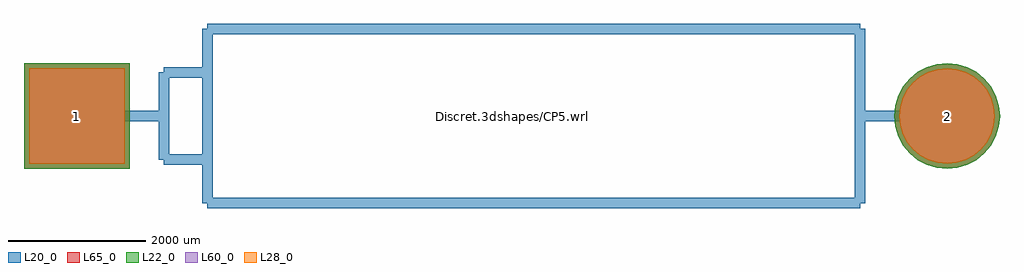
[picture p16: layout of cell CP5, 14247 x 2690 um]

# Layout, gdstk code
import gdstk
lib = gdstk.Library(unit=1e-6, precision=1e-09)
def R(c, l, rs):  # rectangles x0, y0, x1, y1
    for r in rs: c.add(gdstk.rectangle(r[:2], r[2:], *l))
def P(c, l, *ps):  # polygons
    for p in ps: c.add(gdstk.Polygon(p, *l))
L20_0 = (20, 0)
L22_0 = (22, 0)
L28_0 = (28, 0)
L60_0 = (60, 0)
L65_0 = (65, 0)

cp5 = lib.new_cell('CP5')
R(cp5, L22_0, [(-7123.5,-773.5,-5576.5,773.5)])
P(cp5, L22_0, [(7123.5,0),(7108.637,150.902),(7064.621,296.006),(6993.142,429.734),(6896.947,546.947),(6779.734,643.142),(6646.006,714.621),(6500.902,758.637),(6350,773.5),(6199.098,758.637),(6053.994,714.621),(5920.266,643.142),(5803.053,546.947),(5706.858,429.734),(5635.379,296.006),(5591.363,150.902),(5576.5,0),(5591.363,-150.902),(5635.379,-296.006),(5706.858,-429.734),(5803.053,-546.947),(5920.266,-643.142),(6053.994,-714.621),(6199.098,-758.637),(6350,-773.5),(6500.902,-758.637),(6646.006,-714.621),(6779.734,-643.142),(6896.947,-546.947),(6993.142,-429.734),(7064.621,-296.006),(7108.637,-150.902)])
R(cp5, L28_0, [(-7048.5,-698.5,-5651.5,698.5)])
P(cp5, L28_0, [(7048.5,0),(7035.079,136.271),(6995.33,267.304),(6930.782,388.066),(6843.914,493.914),(6738.066,580.782),(6617.304,645.33),(6486.271,685.079),(6350,698.5),(6213.729,685.079),(6082.696,645.33),(5961.934,580.782),(5856.086,493.914),(5769.218,388.066),(5704.67,267.304),(5664.921,136.271),(5651.5,0),(5664.921,-136.271),(5704.67,-267.304),(5769.218,-388.066),(5856.086,-493.914),(5961.934,-580.782),(6082.696,-645.33),(6213.729,-685.079),(6350,-698.5),(6486.271,-685.079),(6617.304,-645.33),(6738.066,-580.782),(6843.914,-493.914),(6930.782,-388.066),(6995.33,-267.304),(7035.079,-136.271)])
R(cp5, L60_0, [(-7048.5,-698.5,-5651.5,698.5)])
P(cp5, L60_0, [(7048.5,0),(7035.079,136.271),(6995.33,267.304),(6930.782,388.066),(6843.914,493.914),(6738.066,580.782),(6617.304,645.33),(6486.271,685.079),(6350,698.5),(6213.729,685.079),(6082.696,645.33),(5961.934,580.782),(5856.086,493.914),(5769.218,388.066),(5704.67,267.304),(5664.921,136.271),(5651.5,0),(5664.921,-136.271),(5704.67,-267.304),(5769.218,-388.066),(5856.086,-493.914),(5961.934,-580.782),(6082.696,-645.33),(6213.729,-685.079),(6350,-698.5),(6486.271,-685.079),(6617.304,-645.33),(6738.066,-580.782),(6843.914,-493.914),(6930.782,-388.066),(6995.33,-267.304),(7035.079,-136.271)])
R(cp5, L65_0, [(-7123.5,-773.5,-5576.5,773.5)])
P(cp5, L65_0, [(7123.5,0),(7108.637,150.902),(7064.621,296.006),(6993.142,429.734),(6896.947,546.947),(6779.734,643.142),(6646.006,714.621),(6500.902,758.637),(6350,773.5),(6199.098,758.637),(6053.994,714.621),(5920.266,643.142),(5803.053,546.947),(5706.858,429.734),(5635.379,296.006),(5591.363,150.902),(5576.5,0),(5591.363,-150.902),(5635.379,-296.006),(5706.858,-429.734),(5803.053,-546.947),(5920.266,-643.142),(6053.994,-714.621),(6199.098,-758.637),(6350,-773.5),(6500.902,-758.637),(6646.006,-714.621),(6779.734,-643.142),(6896.947,-546.947),(6993.142,-429.734),(7064.621,-296.006),(7108.637,-150.902)])
cp5.add(gdstk.FlexPath([(6350,0),(6350,0)], 149.998, ends="flush", simple_path=True, layer=20, datatype=0))  # L20_0
cp5.add(gdstk.FlexPath([(6350,0),(6350,0)], 149.998, ends="flush", simple_path=True, layer=20, datatype=0))  # L20_0
cp5.add(gdstk.FlexPath([(6350,0),(6350,0)], 149.998, ends="flush", simple_path=True, layer=20, datatype=0))  # L20_0
cp5.add(gdstk.FlexPath([(5080,0),(6350,0)], 149.998, ends="flush", simple_path=True, layer=20, datatype=0))  # L20_0
cp5.add(gdstk.FlexPath([(5080,0),(5080,0)], 149.998, ends="flush", simple_path=True, layer=20, datatype=0))  # L20_0
cp5.add(gdstk.FlexPath([(5080,0),(5080,0)], 149.998, ends="flush", simple_path=True, layer=20, datatype=0))  # L20_0
cp5.add(gdstk.FlexPath([(-5080,0),(-5080,0)], 149.998, ends="flush", simple_path=True, layer=20, datatype=0))  # L20_0
cp5.add(gdstk.FlexPath([(-5080,0),(-5080,0)], 149.998, ends="flush", simple_path=True, layer=20, datatype=0))  # L20_0
cp5.add(gdstk.FlexPath([(-6350,0),(-5080,0)], 149.998, ends="flush", simple_path=True, layer=20, datatype=0))  # L20_0
cp5.add(gdstk.FlexPath([(-6350,0),(-6350,0)], 149.998, ends="flush", simple_path=True, layer=20, datatype=0))  # L20_0
cp5.add(gdstk.FlexPath([(-5080,-635),(-4445,-635)], 149.998, ends="flush", simple_path=True, layer=20, datatype=0))  # L20_0
cp5.add(gdstk.FlexPath([(-5080,635),(-5080,-635)], 149.998, ends="flush", simple_path=True, layer=20, datatype=0))  # L20_0
cp5.add(gdstk.FlexPath([(-4445,635),(-5080,635)], 149.998, ends="flush", simple_path=True, layer=20, datatype=0))  # L20_0
cp5.add(gdstk.FlexPath([(-4445,635),(-4445,635)], 149.998, ends="flush", simple_path=True, layer=20, datatype=0))  # L20_0
cp5.add(gdstk.FlexPath([(-4445,-1270),(-4445,1270)], 149.998, ends="flush", simple_path=True, layer=20, datatype=0))  # L20_0
cp5.add(gdstk.FlexPath([(5080,-1270),(-4445,-1270)], 149.998, ends="flush", simple_path=True, layer=20, datatype=0))  # L20_0
cp5.add(gdstk.FlexPath([(5080,1270),(5080,-1270)], 149.998, ends="flush", simple_path=True, layer=20, datatype=0))  # L20_0
cp5.add(gdstk.FlexPath([(-4445,1270),(5080,1270)], 149.998, ends="flush", simple_path=True, layer=20, datatype=0))  # L20_0
cp5.add(gdstk.FlexPath([(-4445,1270),(-4445,1270)], 149.998, ends="flush", simple_path=True, layer=20, datatype=0))  # L20_0
cp5.add(gdstk.FlexPath([(-4445,1270),(-4445,1270)], 149.998, ends="flush", simple_path=True, layer=20, datatype=0))  # L20_0
cp5.add(gdstk.FlexPath([(-4445,1270),(-4445,1270)], 149.998, ends="flush", simple_path=True, layer=20, datatype=0))  # L20_0
cp5.add(gdstk.Label('Discret.3dshapes/CP5.wrl', (0,0), layer=12, texttype=0))
cp5.add(gdstk.Label('2', (6350,0), layer=28, texttype=0))
cp5.add(gdstk.Label('1', (-6350,0), layer=28, texttype=0))
cp5.add(gdstk.Label('type', (0,0), layer=9, texttype=0))
cp5.add(gdstk.Label('devicename', (0,0), layer=9, texttype=0))

lib.write_gds('CP5.gds')
